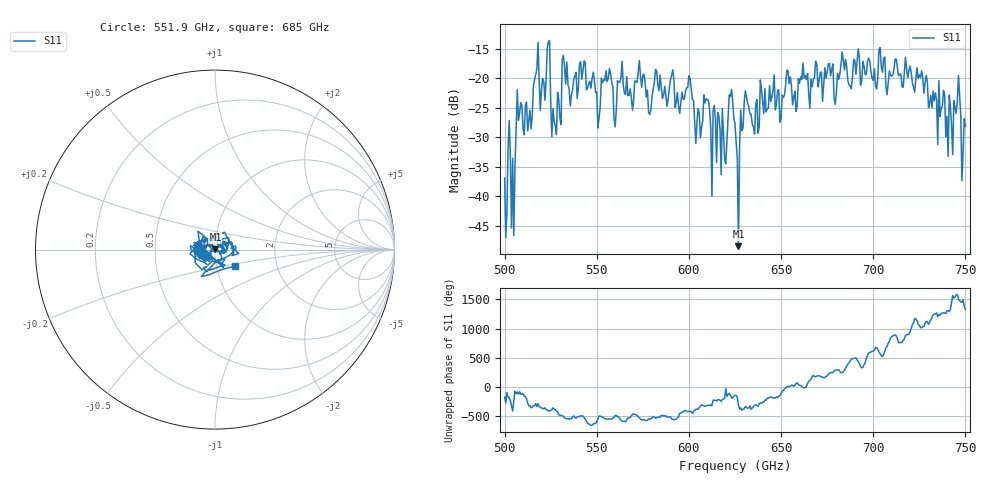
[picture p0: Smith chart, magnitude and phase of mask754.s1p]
!Created with skrf (http://scikit-rf.org).
# GHz S MA R 50.0
!freq magS11 angS11
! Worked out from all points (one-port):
!   401 points, 500 GHz to 750 GHz, reference 50 ohm
!   lowest |S11| = -48.5 dB at 626.9 GHz (marker M1), VSWR 1.01, Z = 50.3 + j0.275 ohm
!   |S11| at or under -10 dB: start of sweep to end of sweep
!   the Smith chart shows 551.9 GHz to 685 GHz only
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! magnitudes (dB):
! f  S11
! 500 GHz  -36.9
! 503.1 GHz  -33.4
! 505 GHz  -46.7
! 507.5 GHz  -27.1
! 513.8 GHz  -25.4
! 516.9 GHz  -19.4
! 520.6 GHz  -20.1
! 523.8 GHz  -13.8
! 526.9 GHz  -27.3
! 531.2 GHz  -16.9
! 542.5 GHz  -18.8
! 550.6 GHz  -28.4
! 562.5 GHz  -20.6
! 593.8 GHz  -22.4
! 600 GHz  -19.6
! 605 GHz  -25.1
! 609.4 GHz  -23.5
! 618.8 GHz  -29.6
! 623.1 GHz  -21.9
! 625 GHz  -27.7
! 626.9 GHz  -48.5
! 631.2 GHz  -23.2
! 634.4 GHz  -27.8
! 656.2 GHz  -24.5
! 683.8 GHz  -16.9
! 687.5 GHz  -21.3
! 718.8 GHz  -19.9
! 750 GHz  -28.1
